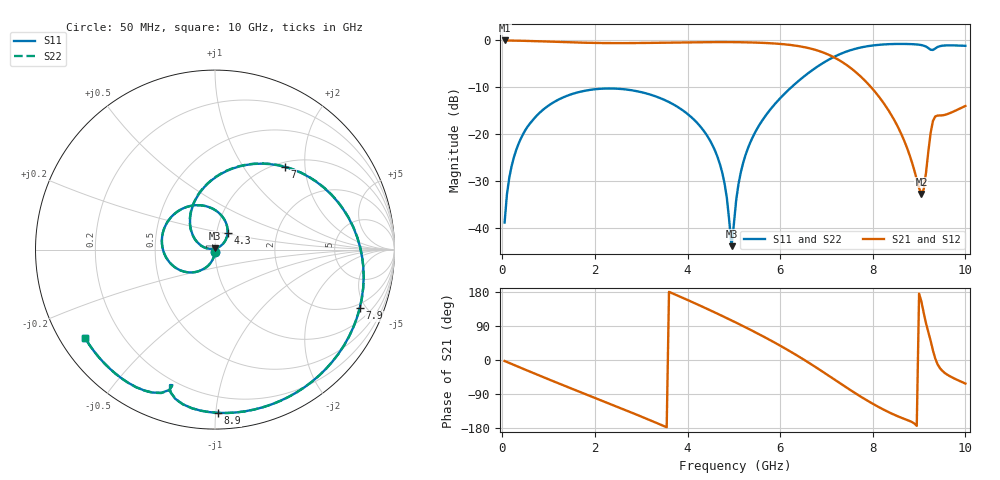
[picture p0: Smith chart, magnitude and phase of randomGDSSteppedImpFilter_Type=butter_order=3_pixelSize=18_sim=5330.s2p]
! freq	dB(S11)	phase(S11)	dB(S12)	phase(S12)
!  dB(S21)	phase(S21)	dB(S22)	phase(S22)
!S-par simulation data
#  GHz  S  DB  R 50
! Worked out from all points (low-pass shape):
!   200 points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, 50 MHz to 10 GHz, reference 50 ohm
!   highest |S21| = 0.00 dB at 50 MHz (marker M1); lowest = -32.8 dB at 9.05 GHz (marker M2)
!   |S21| within 3 dB of the highest: start of sweep to 7.036 GHz
!   lowest |S11| = -43.9 dB at 4.95 GHz (marker M3), VSWR 1.01, Z = 49.9 + j0.631 ohm
!   |S11| at or under -10 dB: start of sweep to 6.242 GHz
!   |S22| runs from -44.6 to -0.7 dB; largest |S21 - S12| = 0
!   S11 on the Smith chart (normalised r, x): 50 MHz: 1.00, -0.02; 4.3 GHz: 1.13, +0.21; 7 GHz: 1.09, +1.58; 7.9 GHz: 1.68, -4.53; 8.9 GHz: 0.10, -1.01; 10 GHz: 0.07, -0.31
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0.05  -38.90 -92.4  -0.00 -2.6  -0.00 -2.6  -38.90 -92.4
0.2  -26.89 -100.4  -0.03 -10.4  -0.03 -10.4  -26.89 -100.4
0.5  -19.11 -116.5  -0.09 -25.7  -0.09 -25.7  -19.11 -116.5
1.75  -10.81 -178.6  -0.48 -87.9  -0.48 -87.9  -10.81 -178.5
2.55  -10.36 142.5  -0.58 -126.8  -0.58 -126.8  -10.36 142.6
3.4  -12.28 100.0  -0.49 -169.7  -0.49 -169.7  -12.28 100.1
4.3  -18.66 53.0  -0.36 141.9  -0.36 141.9  -18.66 53.0
4.75  -28.26 33.4  -0.34 116.2  -0.34 116.2  -28.27 33.1
4.95  -43.95 95.3  -0.35 104.5  -0.35 104.5  -44.58 94.7
5.05  -34.15 168.0  -0.37 98.5  -0.37 98.5  -34.23 169.6
5.2  -26.19 170.1  -0.39 89.5  -0.39 89.5  -26.21 171.0
5.5  -18.91 155.5  -0.47 70.8  -0.47 70.8  -18.91 156.1
6.15  -10.85 114.0  -0.88 27.5  -0.88 27.5  -10.86 114.4
6.7  -6.31 73.5  -1.85 -13.5  -1.85 -13.5  -6.31 73.9
7  -4.38 49.7  -2.85 -37.5  -2.85 -37.5  -4.38 50.0
7.5  -2.15 9.0  -5.71 -78.0  -5.71 -78.0  -2.15 9.3
7.9  -1.21 -22.1  -9.30 -108.4  -9.30 -108.4  -1.21 -21.8
8.35  -0.79 -53.8  -15.10 -138.0  -15.10 -138.0  -0.79 -53.6
8.9  -0.82 -88.9  -27.85 -167.8  -27.85 -167.8  -0.82 -88.7
9.05  -0.99 -98.5  -32.78 154.3  -32.78 154.3  -0.98 -98.2
9.3  -2.03 -107.5  -17.18 25.0  -17.18 25.0  -1.96 -107.5
10  -1.15 -145.7  -14.00 -62.1  -14.00 -62.1  -1.15 -145.7
